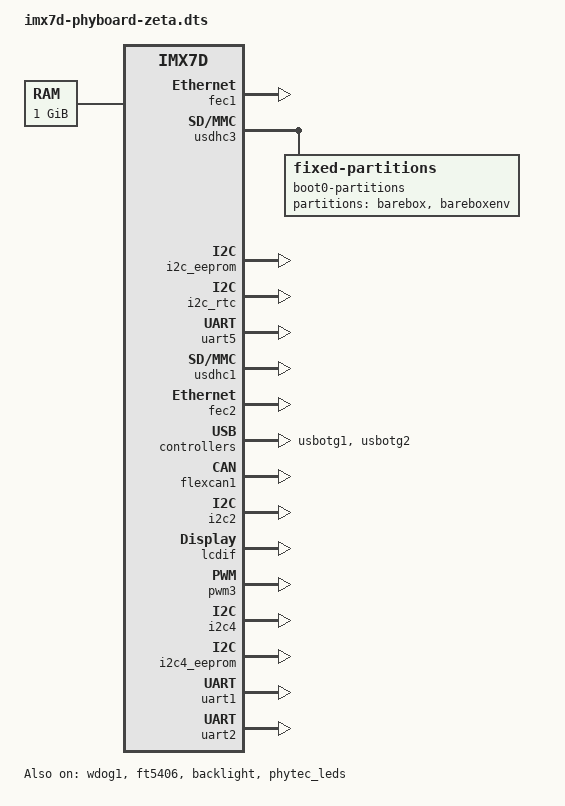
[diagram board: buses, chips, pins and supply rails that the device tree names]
/*
 * Copyright (C) 2015 PHYTEC America, LLC
 *
 * This program is free software; you can redistribute it and/or modify
 * it under the terms of the GNU General Public License version 2 as
 * published by the Free Software Foundation.
 */
/dts-v1/;

#include "imx7d-phycore-som.dtsi"
#include "imx7d-pba-c-09.dtsi"
#include "imx7d-peb-eval-02.dtsi"

/ {
	chosen {
		stdout-path = &uart5;

		environment {
			compatible = "barebox,environment";
			device-path = &bareboxenv;
		};
	};

	memory {
		device_type = "memory";
		reg = <0x80000000 0x40000000>;
	};
};

/**** SOM - PCM-061 ****/

&fec1 {
	status = "okay";
};

/* eMMC */
&usdhc3 {
	status = "okay";

	boot0-partitions {
		compatible = "fixed-partitions";
		#address-cells = <1>;
		#size-cells = <1>;

		barebox@0 {
			label = "barebox";
			reg = <0x0 0x300000>;
		};

		bareboxenv: bareboxenv@300000 {
			label = "bareboxenv";
			reg = <0x300000 0x0>;
		};
	};
};

&i2c_eeprom {
	status = "okay";
};

&i2c_rtc {
	status = "okay";
};

/**** Carrier Board - PBA-C-09 ****/

&uart5 {
	status = "okay";
};

&usdhc1 {
	status = "okay";
};

&fec2 {
	status = "okay";
};

/* Host mode */
&usbotg1 {
	status = "okay";
};

/* OTG mode */
&usbotg2 {
	status = "okay";
};

&flexcan1 {
	status = "okay";
};

&wdog1 {
	status = "okay";
};

/**** PEB-AV-02: touch controller ft5406, LCD and PWM backlight control ****/
&i2c2 {
	status = "okay";
};

&ft5406 {
	status = "okay";
};

&lcdif {
	status = "okay";
};

&pwm3 {
	status = "okay";
};

&backlight {
	status = "okay";
};

/**** Interfaces on PEB-EVAL-02 ****/

&i2c4 {
	status = "okay";
};

&i2c4_eeprom {
	status = "okay";
};

&phytec_leds {
	status = "okay";
};

&phytec_buttons {
	status = "okay";
};

&uart1 {
	status = "okay";
};

&uart2 {
	status = "okay";
};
